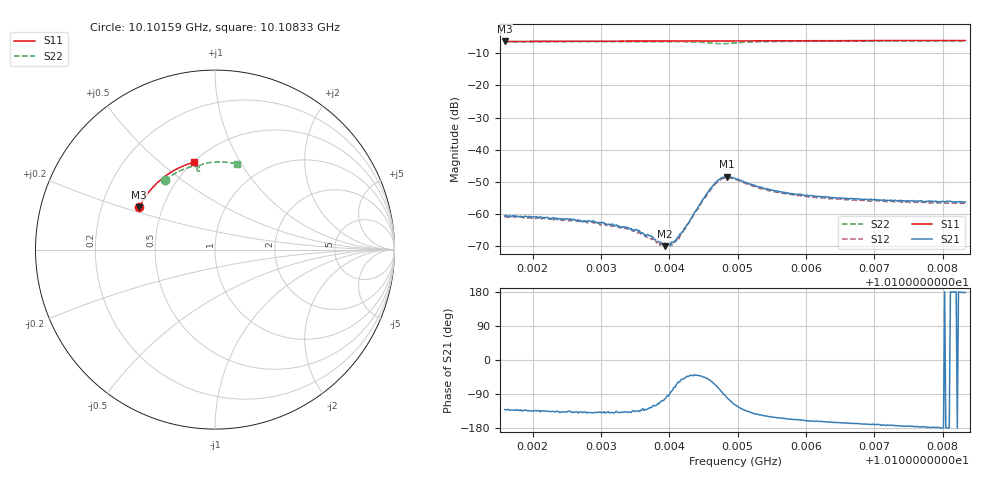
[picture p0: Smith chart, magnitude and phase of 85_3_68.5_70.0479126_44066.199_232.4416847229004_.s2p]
#  HZ  S  RI  R  50.00
! Rohde & Schwarz Vector Network Analyzer
! Rohde-Schwarz,ZNB20-2Port,1311601062101988,3.16
! Created: UTC 3/20/2024, 5:07:34 PM
! freq[Hz]  re:S11  im:S11  re:S21  im:S21  re:S12  im:S12  re:S22  im:S22
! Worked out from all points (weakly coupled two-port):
!   401 points, 10.10159 GHz to 10.10833 GHz, reference 50 ohm
!   highest |S21| = -48.39 dB at 10.10484 GHz (marker M1); lowest = -70.0 dB at 10.10393 GHz (marker M2)
!   lowest |S11| = -6.3 dB at 10.10159 GHz (marker M3), VSWR 2.87, Z = 18.4 + j11.3 ohm
!   |S11| at or under -10 dB: nowhere
!   |S22| runs from -7.0 to -6.1 dB; largest |S21 - S12| = 0.00041
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1.0101589e10  -0.4221 0.2358  -0.000607 -0.000705  -0.00052 -0.000718  -0.2772 0.3869
1.0102516e10  -0.3943 0.2847  -0.000598 -0.000566  -0.00053 -0.000585  -0.2275 0.4212
1.0102718e10  -0.3875 0.2951  -0.00056 -0.000518  -0.000511 -0.000551  -0.2158 0.4278
1.0102853e10  -0.3828 0.3018  -0.000574 -0.000507  -0.000523 -0.000541  -0.2079 0.4322
1.0103359e10  -0.3644 0.3262  -0.00046 -0.000425  -0.000418 -0.000443  -0.1772 0.4467
1.0103477e10  -0.3597 0.3318  -0.000395 -0.000408  -0.000349 -0.000411  -0.1698 0.4498
1.0103713e10  -0.3503 0.3427  -0.000268 -0.000372  -0.000233 -0.00036  -0.1542 0.4554
1.0103848e10  -0.3448 0.3488  -0.000162 -0.00033  -0.000133 -0.000339  -0.145 0.4584
1.0103932e10  -0.3413 0.3524  -7.08e-05 -0.000308  -4.33e-05 -0.000348  -0.139 0.46
1.0104033e10  -0.3371 0.3569  5.12e-05 -0.000364  8.11e-05 -0.000331  -0.1313 0.4617
1.0104101e10  -0.3342 0.3598  0.000164 -0.000356  0.000156 -0.000348  -0.126 0.4623
1.0104168e10  -0.3313 0.3628  0.000298 -0.000395  0.00029 -0.000379  -0.1206 0.4631
1.0104269e10  -0.3269 0.3671  0.000513 -0.000483  0.000529 -0.000449  -0.112 0.4635
1.0104489e10  -0.3171 0.3761  0.00121 -0.00117  0.00126 -0.000984  -0.0923 0.4585
1.0104623e10  -0.311 0.3816  0.00141 -0.00223  0.00154 -0.00202  -0.0838 0.448
1.0104741e10  -0.3059 0.3861  0.000697 -0.00344  0.000937 -0.00323  -0.0873 0.4375
1.0104843e10  -0.3013 0.3902  -0.000612 -0.00376  -0.000277 -0.00363  -0.0962 0.4381
1.0104961e10  -0.2958 0.3946  -0.00169 -0.00315  -0.00136 -0.0032  -0.1 0.4485
1.0105433e10  -0.2733 0.4122  -0.00208 -0.00129  -0.00189 -0.00139  -0.0707 0.4756
1.010609e10  -0.24 0.4343  -0.00183 -0.000621  -0.00167 -0.000749  -0.0245 0.4859
1.010722e10  -0.1792 0.4654  -0.00162 -0.000223  -0.00152 -0.00035  0.0503 0.4877
1.0108333e10  -0.1156 0.4873  -0.00154 3.3e-05  -0.00148 -0.00012  0.121 0.4777
